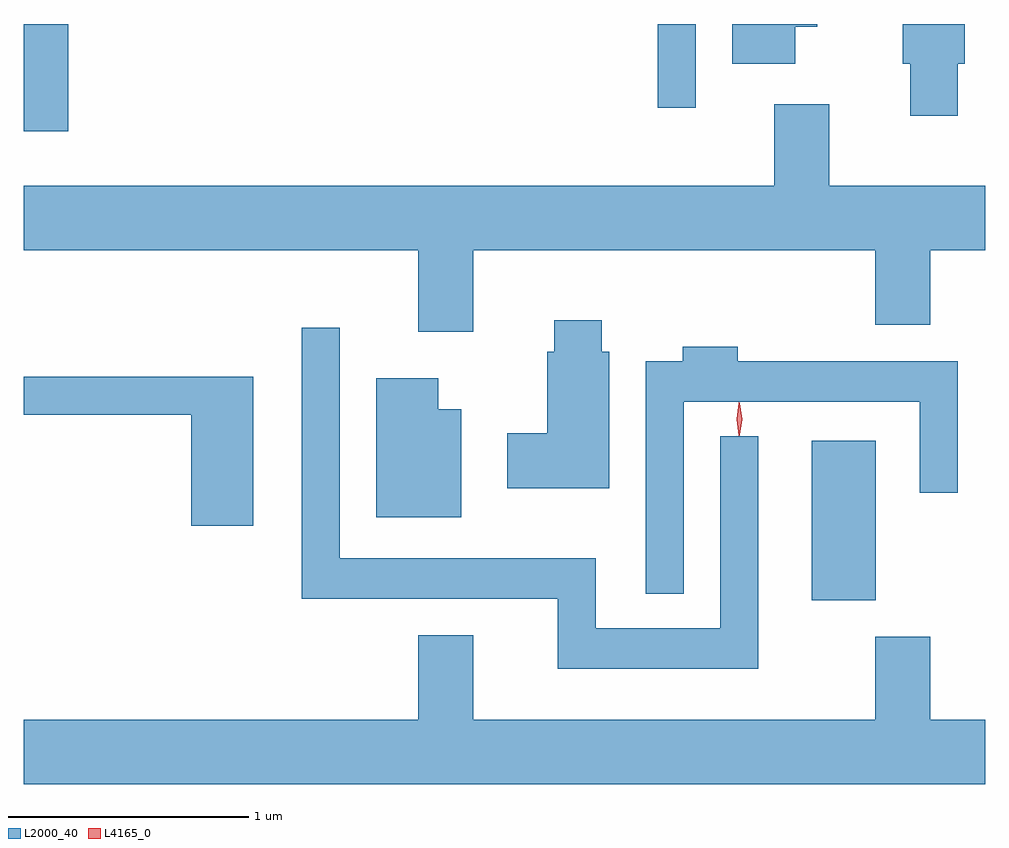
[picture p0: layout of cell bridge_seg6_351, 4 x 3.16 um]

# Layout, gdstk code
import gdstk
lib = gdstk.Library(unit=1e-6, precision=1e-09)
def R(c, l, rs):  # rectangles x0, y0, x1, y1
    for r in rs: c.add(gdstk.rectangle(r[:2], r[2:], *l))
def P(c, l, *ps):  # polygons
    for p in ps: c.add(gdstk.Polygon(p, *l))
L2000_40 = (2000, 40)
L4165_0 = (4165, 0)

bridge_seg6_351 = lib.new_cell('bridge_seg6_351')
R(bridge_seg6_351, L2000_40, [(1330.806,1541.921,1331.074,1542.584), (1327.529,1543.871,1327.714,1544.317), (1330.166,1543.968,1330.324,1544.317)])
P(bridge_seg6_351, L2000_40, [(1330.739,1544.306),(1330.829,1544.306),(1330.829,1544.317),(1330.476,1544.317),(1330.476,1544.151),(1330.739,1544.151)],
  [(1331.414,1544.151),(1331.444,1544.151),(1331.444,1544.317),(1331.186,1544.317),(1331.186,1544.151),(1331.216,1544.151),(1331.216,1543.936),(1331.414,1543.936)],
  [(1329.399,1543.376),(1331.071,1543.376),(1331.071,1543.066),(1331.299,1543.066),(1331.299,1543.376),(1331.529,1543.376),(1331.529,1543.644),(1330.879,1543.644),(1330.879,1543.984),(1330.651,1543.984),(1330.651,1543.644),(1327.529,1543.644),(1327.529,1543.376),(1329.171,1543.376),(1329.171,1543.036),(1329.399,1543.036)],
  [(1329.964,1542.954),(1329.934,1542.954),(1329.934,1543.084),(1329.736,1543.084),(1329.736,1542.954),(1329.706,1542.954),(1329.706,1542.614),(1329.541,1542.614),(1329.541,1542.386),(1329.964,1542.386)],
  [(1330.584,1542.603),(1330.426,1542.603),(1330.426,1541.804),(1329.909,1541.804),(1329.909,1542.094),(1328.844,1542.094),(1328.844,1543.053),(1328.686,1543.053),(1328.686,1541.926),(1329.751,1541.926),(1329.751,1541.636),(1330.584,1541.636)],
  [(1330.274,1542.746),(1331.256,1542.746),(1331.256,1542.368),(1331.414,1542.368),(1331.414,1542.914),(1330.499,1542.914),(1330.499,1542.974),(1330.271,1542.974),(1330.271,1542.914),(1330.116,1542.914),(1330.116,1541.948),(1330.274,1541.948)],
  [(1328.484,1542.849),(1327.529,1542.849),(1327.529,1542.691),(1328.226,1542.691),(1328.226,1542.231),(1328.484,1542.231)],
  [(1329.349,1542.714),(1329.254,1542.714),(1329.254,1542.844),(1328.996,1542.844),(1328.996,1542.266),(1329.349,1542.266)],
  [(1331.529,1541.424),(1331.299,1541.424),(1331.299,1541.769),(1331.071,1541.769),(1331.071,1541.424),(1329.399,1541.424),(1329.399,1541.774),(1329.171,1541.774),(1329.171,1541.424),(1327.529,1541.424),(1327.529,1541.156),(1331.529,1541.156)])
P(bridge_seg6_351, L4165_0, [(1330.507,1542.607),(1330.506,1542.608),(1330.497,1542.674),(1330.506,1542.74),(1330.507,1542.741),(1330.507,1542.74),(1330.517,1542.674),(1330.507,1542.608)],
  [(1330.504,1542.604),(1330.504,1542.604),(1330.494,1542.673),(1330.504,1542.742),(1330.504,1542.743),(1330.505,1542.742),(1330.514,1542.673),(1330.505,1542.604)])

lib.write_gds('bridge_seg6_351.gds')
